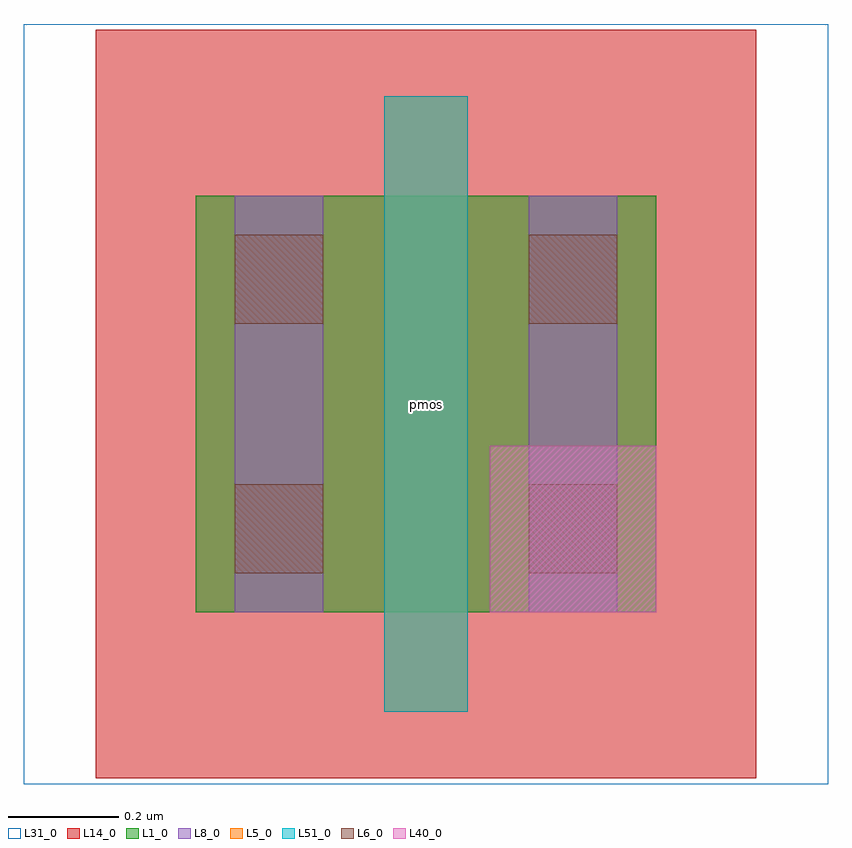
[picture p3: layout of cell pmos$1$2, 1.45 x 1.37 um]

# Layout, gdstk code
import gdstk
lib = gdstk.Library(unit=1e-6, precision=5e-09)
def R(c, l, rs):  # rectangles x0, y0, x1, y1
    for r in rs: c.add(gdstk.rectangle(r[:2], r[2:], *l))
L1_0 = (1, 0)
L5_0 = (5, 0)
L6_0 = (6, 0)
L8_0 = (8, 0)
L14_0 = (14, 0)
L31_0 = (31, 0)
L40_0 = (40, 0)
L51_0 = (51, 0)

pmos_1_2 = lib.new_cell('pmos$1$2')
R(pmos_1_2, L1_0, [(0,0,0.3,0.3), (0,0,0.83,0.75), (0.53,0,0.83,0.3)])
R(pmos_1_2, L5_0, [(0.34,-0.18,0.49,0.93), (0.34,-0.18,0.49,0.93)])
R(pmos_1_2, L6_0, [(0.07,0.07,0.23,0.23), (0.6,0.07,0.76,0.23), (0.07,0.52,0.23,0.68), (0.6,0.52,0.76,0.68)])
R(pmos_1_2, L8_0, [(0.07,0,0.23,0.75), (0.07,0,0.23,0.75), (0.6,0,0.76,0.75), (0.6,0,0.76,0.75)])
R(pmos_1_2, L14_0, [(-0.18,-0.3,1.01,1.05)])
R(pmos_1_2, L31_0, [(-0.31,-0.31,1.14,1.06)])
R(pmos_1_2, L40_0, [(0.53,0,0.83,0.3)])
R(pmos_1_2, L51_0, [(0.34,-0.18,0.49,0.93)])
pmos_1_2.add(gdstk.Label('pmos', (0.415,0.375), layer=63, texttype=0))
pmos_1_2.add(gdstk.Label('pmos', (0.415,0.375), layer=51, texttype=0))

lib.write_gds('pmos_1_2.gds')
